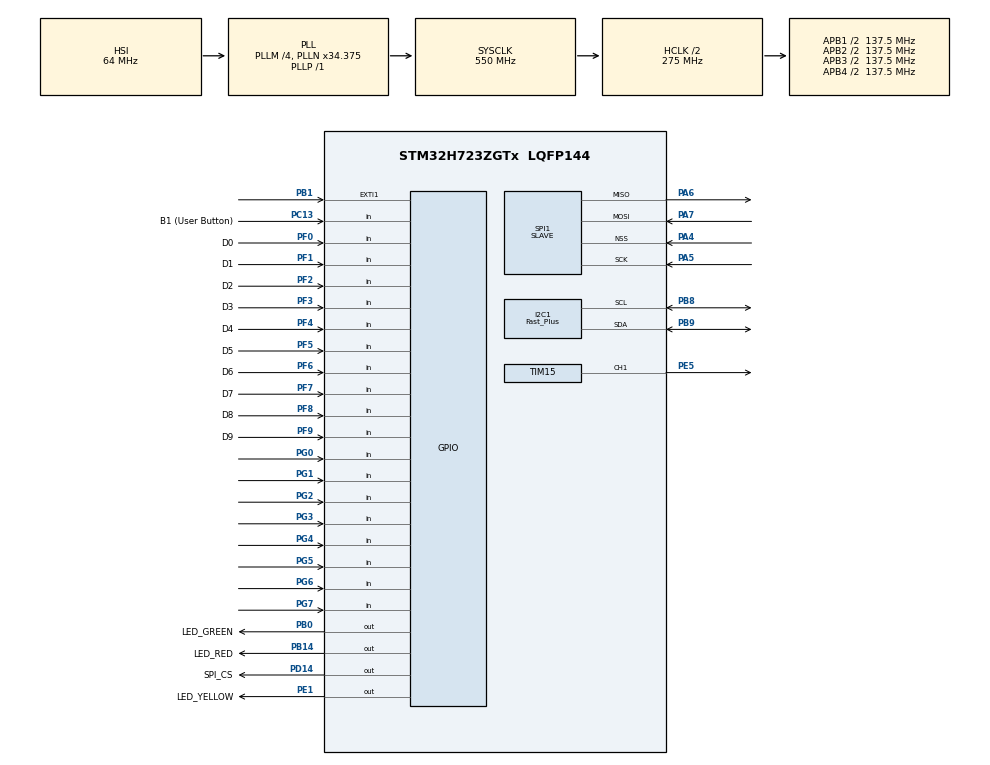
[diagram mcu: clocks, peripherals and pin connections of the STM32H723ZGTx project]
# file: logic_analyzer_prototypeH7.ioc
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CORTEX_M7.CPU_DCache=Disabled
CORTEX_M7.CPU_ICache=Disabled
CORTEX_M7.default_mode_Activation=1
Dma.Request0=TIM2_UP
Dma.Request1=SPI1_TX
Dma.Request2=TIM15_UP
Dma.SPI1_TX.1.Direction=DMA_MEMORY_TO_PERIPH
Dma.SPI1_TX.1.EventEnable=DISABLE
Dma.SPI1_TX.1.FIFOMode=DMA_FIFOMODE_DISABLE
Dma.SPI1_TX.1.Instance=DMA1_Stream2
Dma.SPI1_TX.1.MemDataAlignment=DMA_MDATAALIGN_HALFWORD
Dma.SPI1_TX.1.MemInc=DMA_MINC_ENABLE
Dma.SPI1_TX.1.Mode=DMA_NORMAL
Dma.SPI1_TX.1.PeriphDataAlignment=DMA_PDATAALIGN_HALFWORD
Dma.SPI1_TX.1.PeriphInc=DMA_PINC_DISABLE
Dma.SPI1_TX.1.Polarity=HAL_DMAMUX_REQ_GEN_RISING
Dma.SPI1_TX.1.Priority=DMA_PRIORITY_VERY_HIGH
Dma.SPI1_TX.1.RequestNumber=1
Dma.SPI1_TX.1.SignalID=NONE
Dma.SPI1_TX.1.SyncEnable=DISABLE
Dma.SPI1_TX.1.SyncPolarity=HAL_DMAMUX_SYNC_NO_EVENT
Dma.SPI1_TX.1.SyncRequestNumber=1
Dma.SPI1_TX.1.SyncSignalID=NONE
Dma.TIM15_UP.2.Direction=DMA_PERIPH_TO_MEMORY
Dma.TIM15_UP.2.EventEnable=DISABLE
Dma.TIM15_UP.2.FIFOMode=DMA_FIFOMODE_DISABLE
Dma.TIM15_UP.2.Instance=DMA1_Stream0
Dma.TIM15_UP.2.MemDataAlignment=DMA_MDATAALIGN_HALFWORD
Dma.TIM15_UP.2.MemInc=DMA_MINC_ENABLE
Dma.TIM15_UP.2.Mode=DMA_NORMAL
Dma.TIM15_UP.2.PeriphDataAlignment=DMA_PDATAALIGN_HALFWORD
Dma.TIM15_UP.2.PeriphInc=DMA_PINC_DISABLE
Dma.TIM15_UP.2.Polarity=HAL_DMAMUX_REQ_GEN_RISING
Dma.TIM15_UP.2.Priority=DMA_PRIORITY_VERY_HIGH
Dma.TIM15_UP.2.RequestNumber=1
Dma.TIM15_UP.2.SignalID=NONE
Dma.TIM15_UP.2.SyncEnable=DISABLE
Dma.TIM15_UP.2.SyncPolarity=HAL_DMAMUX_SYNC_NO_EVENT
Dma.TIM15_UP.2.SyncRequestNumber=1
Dma.TIM15_UP.2.SyncSignalID=NONE
Dma.TIM2_UP.0.Direction=DMA_PERIPH_TO_MEMORY
Dma.TIM2_UP.0.EventEnable=DISABLE
Dma.TIM2_UP.0.FIFOMode=DMA_FIFOMODE_DISABLE
Dma.TIM2_UP.0.Instance=DMA1_Stream1
Dma.TIM2_UP.0.MemDataAlignment=DMA_MDATAALIGN_BYTE
Dma.TIM2_UP.0.MemInc=DMA_MINC_ENABLE
Dma.TIM2_UP.0.Mode=DMA_NORMAL
Dma.TIM2_UP.0.PeriphDataAlignment=DMA_PDATAALIGN_BYTE
Dma.TIM2_UP.0.PeriphInc=DMA_PINC_DISABLE
Dma.TIM2_UP.0.Polarity=HAL_DMAMUX_REQ_GEN_RISING
Dma.TIM2_UP.0.Priority=DMA_PRIORITY_VERY_HIGH
Dma.TIM2_UP.0.RequestNumber=1
Dma.TIM2_UP.0.SignalID=NONE
Dma.TIM2_UP.0.SyncEnable=DISABLE
Dma.TIM2_UP.0.SyncPolarity=HAL_DMAMUX_SYNC_NO_EVENT
Dma.TIM2_UP.0.SyncRequestNumber=1
Dma.TIM2_UP.0.SyncSignalID=NONE
FREERTOS.Tasks01=defaultTask,24,128,StartDefaultTask,Default,NULL,Dynamic,NULL,NULL
FREERTOS.configTOTAL_HEAP_SIZE=16384
FREERTOS.configUSE_NEWLIB_REENTRANT=1
I2C1.I2C_Speed_Mode=I2C_Fast_Plus
I2C1.NoStretchMode=I2C_NOSTRETCH_DISABLE
I2C1.OwnAddress=0x54
I2C1.Timing=0x00601A5C
Mcu.Family=STM32H7
Mcu.Name=STM32H723ZGTx
Mcu.Package=LQFP144
NVIC.DMA1_Stream0_IRQn=true\:5\:0\:false\:false\:true\:true\:false\:true\:true
NVIC.DMA1_Stream1_IRQn=true\:6\:0\:true\:false\:true\:false\:false\:true\:true
NVIC.DMA1_Stream2_IRQn=true\:5\:0\:false\:false\:true\:false\:false\:true\:true
NVIC.I2C1_ER_IRQn=true\:15\:0\:true\:false\:true\:true\:true\:true\:true
NVIC.I2C1_EV_IRQn=true\:15\:0\:true\:false\:true\:true\:true\:true\:true
NVIC.PriorityGroup=NVIC_PRIORITYGROUP_4
NVIC.SPI1_IRQn=true\:5\:0\:false\:false\:true\:true\:false\:true\:true
NVIC.TIM3_IRQn=true\:5\:0\:false\:false\:true\:true\:true\:true\:true
NVIC.TIM6_DAC_IRQn=true\:15\:0\:false\:false\:true\:false\:false\:true\:true
NVIC.TimeBase=TIM6_DAC_IRQn
NVIC.TimeBaseIP=TIM6
PA13(JTMS/SWDIO).GPIO_Label=SWDIO
PA13(JTMS/SWDIO).Signal=DEBUG_JTMS-SWDIO
PA14(JTCK/SWCLK).GPIO_Label=SWCLK
PA14(JTCK/SWCLK).Signal=DEBUG_JTCK-SWCLK
PA4.GPIO_PuPd=GPIO_PULLUP
PA4.GPIO_Speed=GPIO_SPEED_FREQ_VERY_HIGH
PA4.Mode=NSS_Signal_Hard_Input
PA4.Signal=SPI1_NSS
PA5.GPIO_Speed=GPIO_SPEED_FREQ_VERY_HIGH
PA5.Mode=Full_Duplex_Slave
PA5.Signal=SPI1_SCK
PA6.GPIO_Speed=GPIO_SPEED_FREQ_VERY_HIGH
PA6.Mode=Full_Duplex_Slave
PA6.Signal=SPI1_MISO
PA7.Mode=Full_Duplex_Slave
PA7.Signal=SPI1_MOSI
PB0.GPIO_Label=LED_GREEN
PB0.Signal=GPIO_Output
PB1.Signal=GPXTI1
PB14.GPIO_Label=LED_RED
PB14.Signal=GPIO_Output
PB8.GPIO_Pu=GPIO_PULLUP
PB8.GPIO_Speed=GPIO_SPEED_FREQ_VERY_HIGH
PB8.Mode=I2C
PB8.Signal=I2C1_SCL
PB9.GPIO_Pu=GPIO_PULLUP
PB9.GPIO_Speed=GPIO_SPEED_FREQ_VERY_HIGH
PB9.Mode=I2C
PB9.Signal=I2C1_SDA
PC13.GPIO_Label=B1 (User Button)
PC13.Signal=GPIO_Input
PC14-OSC32_IN.Signal=RCC_OSC32_IN
PC15-OSC32_OUT.Signal=RCC_OSC32_OUT
PD14.GPIO_Label=SPI_CS
PD14.GPIO_PuPd=GPIO_PULLUP
PD14.GPIO_Speed=GPIO_SPEED_FREQ_VERY_HIGH
PD14.PinState=GPIO_PIN_SET
PD14.Signal=GPIO_Output
PD8.GPIO_Label=STLK_VCP_RX
PD8.Signal=USART3_TX
PD9.GPIO_Label=STLK_VCP_TX
PD9.Signal=USART3_RX
PE1.GPIO_Label=LED_YELLOW
PE1.Signal=GPIO_Output
PE5.GPIO_Speed=GPIO_SPEED_FREQ_LOW
PE5.Signal=S_TIM15_CH1
PF0.GPIO_Label=D0
PF0.GPIO_Mode=GPIO_MODE_INPUT
PF0.GPIO_PuPd=GPIO_PULLDOWN
PF0.Signal=GPIO_Input
PF1.GPIO_Label=D1
PF1.GPIO_Mode=GPIO_MODE_INPUT
PF1.GPIO_PuPd=GPIO_PULLDOWN
PF1.Signal=GPIO_Input
PF2.GPIO_Label=D2
PF2.GPIO_Mode=GPIO_MODE_INPUT
PF2.GPIO_PuPd=GPIO_PULLDOWN
PF2.Signal=GPIO_Input
PF3.GPIO_Label=D3
PF3.GPIO_Mode=GPIO_MODE_INPUT
PF3.GPIO_PuPd=GPIO_PULLDOWN
PF3.Signal=GPIO_Input
PF4.GPIO_Label=D4
PF4.GPIO_Mode=GPIO_MODE_INPUT
PF4.GPIO_PuPd=GPIO_PULLDOWN
PF4.Signal=GPIO_Input
PF5.GPIO_Label=D5
PF5.GPIO_Mode=GPIO_MODE_INPUT
PF5.GPIO_PuPd=GPIO_PULLDOWN
PF5.Signal=GPIO_Input
PF6.GPIO_Label=D6
PF6.GPIO_Mode=GPIO_MODE_INPUT
PF6.GPIO_PuPd=GPIO_PULLDOWN
PF6.Signal=GPIO_Input
PF7.GPIO_Label=D7
PF7.GPIO_Mode=GPIO_MODE_INPUT
PF7.GPIO_PuPd=GPIO_PULLDOWN
PF7.Signal=GPIO_Input
PF8.GPIO_Label=D8
PF8.GPIO_Mode=GPIO_MODE_INPUT
PF8.GPIO_PuPd=GPIO_PULLDOWN
PF8.Signal=GPIO_Input
PF9.GPIO_Label=D9
PF9.GPIO_Mode=GPIO_MODE_INPUT
PF9.GPIO_PuPd=GPIO_PULLDOWN
PF9.Signal=GPIO_Input
PG0.Signal=GPIO_Input
PG1.Signal=GPIO_Input
PG2.Signal=GPIO_Input
PG3.Signal=GPIO_Input
PG4.Signal=GPIO_Input
PG5.Signal=GPIO_Input
PG6.Signal=GPIO_Input
PG7.Signal=GPIO_Input
ProjectManager.HeapSize=0x200
ProjectManager.StackSize=0x400
ProjectManager.TargetToolchain=STM32CubeIDE
RCC.ADCFreq_Value=608000000
RCC.APB1Freq_Value=137500000
RCC.APB2Freq_Value=137500000
RCC.APB3Freq_Value=137500000
RCC.APB4Freq_Value=137500000
RCC.CortexFreq_Value=550000000
RCC.D1PPRE=RCC_APB3_DIV2
RCC.D2PPRE1=RCC_APB1_DIV2
RCC.D2PPRE2=RCC_APB2_DIV2
RCC.D3PPRE=RCC_APB4_DIV2
RCC.DIVM1=4
RCC.DIVM2=1
RCC.DIVN1=34
RCC.DIVN2=19
RCC.DIVP1=1
RCC.DIVQ1=3
RCC.HCLKFreq_Value=275000000
RCC.HPRE=RCC_HCLK_DIV2
RCC.HSE_VALUE=8000000
RCC.PLLFRACN=3072
RCC.SYSCLKFreq_VALUE=550000000
RCC.SYSCLKSource=RCC_SYSCLKSOURCE_PLLCLK
RCC.USBCLockSelection=RCC_USBCLKSOURCE_HSI48
RCC.USBFreq_Value=48000000
SH.S_TIM15_CH1.0=TIM15_CH1,PWM Generation1 CH1
SPI1.CLKPhase=SPI_PHASE_2EDGE
SPI1.DataSize=SPI_DATASIZE_16BIT
SPI1.Direction=SPI_DIRECTION_2LINES
SPI1.Mode=SPI_MODE_SLAVE
SPI1.VirtualNSS=VM_NSSHARD
SPI1.VirtualType=VM_SLAVE
TIM15.Channel-PWM\ Generation1\ CH1=TIM_CHANNEL_1
TIM15.OCFastMode_PWM-PWM\ Generation1\ CH1=TIM_OCFAST_ENABLE
TIM15.OCPolarity_1=TIM_OCPOLARITY_HIGH
TIM15.Period=23
TIM15.TIM_MasterOutputTrigger=TIM_TRGO_UPDATE
TIM2.Period=23
TIM2.TIM_MasterOutputTrigger=TIM_TRGO_UPDATE
TIM3.Period=27499
TIM3.Prescaler=4999
VP_FREERTOS_VS_CMSIS_V2.Mode=CMSIS_V2
VP_MEMORYMAP_VS_MEMORYMAP.Mode=CurAppReg
VP_SYS_VS_tim6.Mode=TIM6
VP_TIM15_VS_ClockSourceINT.Mode=Internal
VP_TIM2_VS_ClockSourceINT.Mode=Internal
VP_TIM3_VS_ClockSourceINT.Mode=Internal
board=NUCLEO-H723ZG

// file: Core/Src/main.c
/* USER CODE BEGIN Header */
/**
  ******************************************************************************
  * @file           : main.c
  * @brief          : Main program body
  ******************************************************************************
  * @attention
  *
  * Copyright (c) 2025 STMicroelectronics.
  * All rights reserved.
  *
  * This software is licensed under terms that can be found in the LICENSE file
  * in the root directory of this software component.
  * If no LICENSE file comes with this software, it is provided AS-IS.
  *
  ******************************************************************************
  */
/* USER CODE END Header */
#include "main.h"
#include "cmsis_os.h"

/* USER CODE BEGIN Includes */
#include "logic_analyzer_commands.h"
#include "oscilloscope_commands.h"
#include "la_os_shared.h"
#include "snap_module.h"
#include <stdio.h>
#include <string.h>
#include <stdbool.h>
/* USER CODE END Includes */

/* USER CODE BEGIN PTD */
extern void CommandProcessingTask(void* argument);
/* USER CODE END PTD */

I2C_HandleTypeDef hi2c1;

SPI_HandleTypeDef hspi1;
DMA_HandleTypeDef hdma_spi1_tx;

TIM_HandleTypeDef htim2;
TIM_HandleTypeDef htim3;
TIM_HandleTypeDef htim15;
DMA_HandleTypeDef hdma_tim2_up;
DMA_HandleTypeDef hdma_tim15_up;

/* Definitions for defaultTask */
osThreadId_t defaultTaskHandle;
const osThreadAttr_t defaultTask_attributes = {
  .name = "defaultTask",
  .stack_size = 128 * 4,
  .priority = (osPriority_t) osPriorityNormal,
};
/* USER CODE BEGIN PV */
// RTOS Task Handles for Logic Analyzer

osThreadId_t commandProcessingTaskHandle;
const osThreadAttr_t commandProcessingTask_attributes = {
		.name = "commandProcessing",
		.stack_size = 512 * 4,
		.priority = (osPriority_t) osPriorityHigh
};

osThreadId_t continuousTaskHandle;
const osThreadAttr_t ContinuousTask_attributes = {
		.name = "continuous",
		.stack_size = 512 * 4,
		.priority = (osPriority_t) osPriorityRealtime
};

uint8_t sample_buffer[SAMPLE_BUFFER_SIZE];

/* USER CODE END PV */

void SystemClock_Config(void);
static void MPU_Config(void);
static void MX_GPIO_Init(void);
static void MX_DMA_Init(void);
static void MX_TIM2_Init(void);
static void MX_I2C1_Init(void);
static void MX_SPI1_Init(void);
static void MX_TIM3_Init(void);
static void MX_TIM15_Init(void);
void StartDefaultTask(void *argument);

/* USER CODE BEGIN PFP */
extern void i2c_fsm_watchdog_callback();
/* USER CODE END PFP */

/* USER CODE BEGIN 0 */

void processCommand(struct CommandMessage *cmd, struct CommandResponse *resp) {
    switch(cmd->code) {
      case COMMAND_LA_START_CONTINUOUS:
  commandLAStartContinuous(cmd, resp);
  break;

      case COMMAND_LA_STOP_CONTINUOUS:
	commandLAStopContinuous(cmd, resp);
	break;

      case COMMAND_LA_GET_CHUNK:
	commandLAGetChunk(cmd, resp);
	break;

      case COMMAND_LA_CONFIG:
	commandLAConfig(cmd, resp);
	break;

      case COMMAND_OS_START_CONTINUOUS:
   	commandOSStartContinuous(cmd, resp);
   	break;

         case COMMAND_OS_STOP_CONTINUOUS:
        	 commandOSStopContinuous(cmd, resp);
   	break;

         case COMMAND_OS_GET_CHUNK:
   	commandOSGetChunk(cmd, resp);
   	break;

         case COMMAND_OS_CONFIG:
   	commandOSConfig(cmd, resp);
   	break;

      default:
	return;
    }
}
/* USER CODE END 0 */

int main(void)
{

  /* MPU Configuration--------------------------------------------------------*/
  MPU_Config();

  /* MCU Configuration--------------------------------------------------------*/

  /* Reset of all peripherals, Initializes the Flash interface and the Systick. */
  HAL_Init();

  /* Configure the system clock */
  SystemClock_Config();

  /* Initialize all configured peripherals */
  MX_GPIO_Init();
  MX_DMA_Init();
  MX_TIM2_Init();
  MX_I2C1_Init();
  MX_SPI1_Init();
  MX_TIM3_Init();
  MX_TIM15_Init();

  /* Init scheduler */
  osKernelInitialize();

  /* Create the thread(s) */
  /* creation of defaultTask */
  defaultTaskHandle = osThreadNew(StartDefaultTask, NULL, &defaultTask_attributes);

  /* USER CODE BEGIN RTOS_THREADS */
  /* add threads, ... */
  continuousTaskHandle = osThreadNew(ContinuousSamplingTask, NULL, &ContinuousTask_attributes);
  commandProcessingTaskHandle = osThreadNew(CommandProcessingTask, NULL, &commandProcessingTask_attributes);
  /* USER CODE END RTOS_THREADS */

  /* Start scheduler */
  osKernelStart();

  /* We should never get here as control is now taken by the scheduler */

  /* Infinite loop */
  while (1)
  {

  }
}

void SystemClock_Config(void)
{
  RCC_OscInitTypeDef RCC_OscInitStruct = {0};
  RCC_ClkInitTypeDef RCC_ClkInitStruct = {0};

  /** Supply configuration update enable
  */
  HAL_PWREx_ConfigSupply(PWR_LDO_SUPPLY);

  /** Configure the main internal regulator output voltage
  */
  __HAL_PWR_VOLTAGESCALING_CONFIG(PWR_REGULATOR_VOLTAGE_SCALE0);

  while(!__HAL_PWR_GET_FLAG(PWR_FLAG_VOSRDY)) {}

  /** Initializes the RCC Oscillators according to the specified parameters
  * in the RCC_OscInitTypeDef structure.
  */
  RCC_OscInitStruct.OscillatorType = RCC_OSCILLATORTYPE_HSI;
  RCC_OscInitStruct.HSIState = RCC_HSI_DIV1;
  RCC_OscInitStruct.HSICalibrationValue = 64;
  RCC_OscInitStruct.PLL.PLLState = RCC_PLL_ON;
  RCC_OscInitStruct.PLL.PLLSource = RCC_PLLSOURCE_HSI;
  RCC_OscInitStruct.PLL.PLLM = 4;
  RCC_OscInitStruct.PLL.PLLN = 34;
  RCC_OscInitStruct.PLL.PLLP = 1;
  RCC_OscInitStruct.PLL.PLLQ = 3;
  RCC_OscInitStruct.PLL.PLLR = 2;
  RCC_OscInitStruct.PLL.PLLRGE = RCC_PLL1VCIRANGE_3;
  RCC_OscInitStruct.PLL.PLLVCOSEL = RCC_PLL1VCOWIDE;
  RCC_OscInitStruct.PLL.PLLFRACN = 3072;
  if (HAL_RCC_OscConfig(&RCC_OscInitStruct) != HAL_OK)
  {
    Error_Handler();
  }

  /** Initializes the CPU, AHB and APB buses clocks
  */
  RCC_ClkInitStruct.ClockType = RCC_CLOCKTYPE_HCLK|RCC_CLOCKTYPE_SYSCLK
                              |RCC_CLOCKTYPE_PCLK1|RCC_CLOCKTYPE_PCLK2
                              |RCC_CLOCKTYPE_D3PCLK1|RCC_CLOCKTYPE_D1PCLK1;
  RCC_ClkInitStruct.SYSCLKSource = RCC_SYSCLKSOURCE_PLLCLK;
  RCC_ClkInitStruct.SYSCLKDivider = RCC_SYSCLK_DIV1;
  RCC_ClkInitStruct.AHBCLKDivider = RCC_HCLK_DIV2;
  RCC_ClkInitStruct.APB3CLKDivider = RCC_APB3_DIV2;
  RCC_ClkInitStruct.APB1CLKDivider = RCC_APB1_DIV2;
  RCC_ClkInitStruct.APB2CLKDivider = RCC_APB2_DIV2;
  RCC_ClkInitStruct.APB4CLKDivider = RCC_APB4_DIV2;

  if (HAL_RCC_ClockConfig(&RCC_ClkInitStruct, FLASH_LATENCY_3) != HAL_OK)
  {
    Error_Handler();
  }
}

static void MX_I2C1_Init(void)
{

  hi2c1.Instance = I2C1;
  hi2c1.Init.Timing = 0x00601A5C;
  hi2c1.Init.OwnAddress1 = 168;
  hi2c1.Init.AddressingMode = I2C_ADDRESSINGMODE_7BIT;
  hi2c1.Init.DualAddressMode = I2C_DUALADDRESS_DISABLE;
  hi2c1.Init.OwnAddress2 = 0;
  hi2c1.Init.OwnAddress2Masks = I2C_OA2_NOMASK;
  hi2c1.Init.GeneralCallMode = I2C_GENERALCALL_DISABLE;
  hi2c1.Init.NoStretchMode = I2C_NOSTRETCH_DISABLE;
  if (HAL_I2C_Init(&hi2c1) != HAL_OK)
  {
    Error_Handler();
  }

  /** Configure Analogue filter
  */
  if (HAL_I2CEx_ConfigAnalogFilter(&hi2c1, I2C_ANALOGFILTER_ENABLE) != HAL_OK)
  {
    Error_Handler();
  }

  /** Configure Digital filter
  */
  if (HAL_I2CEx_ConfigDigitalFilter(&hi2c1, 0) != HAL_OK)
  {
    Error_Handler();
  }

  /** I2C Enable Fast Mode Plus
  */
  HAL_I2CEx_EnableFastModePlus(I2C_FASTMODEPLUS_I2C1);

}

static void MX_SPI1_Init(void)
{

  /* SPI1 parameter configuration*/
  hspi1.Instance = SPI1;
  hspi1.Init.Mode = SPI_MODE_SLAVE;
  hspi1.Init.Direction = SPI_DIRECTION_2LINES;
  hspi1.Init.DataSize = SPI_DATASIZE_16BIT;
  hspi1.Init.CLKPolarity = SPI_POLARITY_LOW;
  hspi1.Init.CLKPhase = SPI_PHASE_2EDGE;
  hspi1.Init.NSS = SPI_NSS_HARD_INPUT;
  hspi1.Init.FirstBit = SPI_FIRSTBIT_MSB;
  hspi1.Init.TIMode = SPI_TIMODE_DISABLE;
  hspi1.Init.CRCCalculation = SPI_CRCCALCULATION_DISABLE;
  hspi1.Init.CRCPolynomial = 0x0;
  hspi1.Init.NSSPMode = SPI_NSS_PULSE_DISABLE;
  hspi1.Init.NSSPolarity = SPI_NSS_POLARITY_LOW;
  hspi1.Init.FifoThreshold = SPI_FIFO_THRESHOLD_01DATA;
  hspi1.Init.TxCRCInitializationPattern = SPI_CRC_INITIALIZATION_ALL_ZERO_PATTERN;
  hspi1.Init.RxCRCInitializationPattern = SPI_CRC_INITIALIZATION_ALL_ZERO_PATTERN;
  hspi1.Init.MasterSSIdleness = SPI_MASTER_SS_IDLENESS_00CYCLE;
  hspi1.Init.MasterInterDataIdleness = SPI_MASTER_INTERDATA_IDLENESS_00CYCLE;
  hspi1.Init.MasterReceiverAutoSusp = SPI_MASTER_RX_AUTOSUSP_DISABLE;
  hspi1.Init.MasterKeepIOState = SPI_MASTER_KEEP_IO_STATE_DISABLE;
  hspi1.Init.IOSwap = SPI_IO_SWAP_DISABLE;
  if (HAL_SPI_Init(&hspi1) != HAL_OK)
  {
    Error_Handler();
  }

}

static void MX_TIM2_Init(void)
{

  TIM_ClockConfigTypeDef sClockSourceConfig = {0};
  TIM_MasterConfigTypeDef sMasterConfig = {0};

  htim2.Instance = TIM2;
  htim2.Init.Prescaler = 0;
  htim2.Init.CounterMode = TIM_COUNTERMODE_UP;
  htim2.Init.Period = 23;
  htim2.Init.ClockDivision = TIM_CLOCKDIVISION_DIV1;
  htim2.Init.AutoReloadPreload = TIM_AUTORELOAD_PRELOAD_DISABLE;
  if (HAL_TIM_Base_Init(&htim2) != HAL_OK)
  {
    Error_Handler();
  }
  sClockSourceConfig.ClockSource = TIM_CLOCKSOURCE_INTERNAL;
  if (HAL_TIM_ConfigClockSource(&htim2, &sClockSourceConfig) != HAL_OK)
  {
    Error_Handler();
  }
  sMasterConfig.MasterOutputTrigger = TIM_TRGO_UPDATE;
  sMasterConfig.MasterSlaveMode = TIM_MASTERSLAVEMODE_DISABLE;
  if (HAL_TIMEx_MasterConfigSynchronization(&htim2, &sMasterConfig) != HAL_OK)
  {
    Error_Handler();
  }

}

static void MX_TIM3_Init(void)
{

  TIM_ClockConfigTypeDef sClockSourceConfig = {0};
  TIM_MasterConfigTypeDef sMasterConfig = {0};

  /* USER CODE BEGIN TIM3_Init 1 */
  /* Enable TIM3 clock */
  __HAL_RCC_TIM3_CLK_ENABLE();

  /* Enable and set TIM3 Interrupt priority */
  HAL_NVIC_SetPriority(TIM3_IRQn, 5, 0);
  HAL_NVIC_EnableIRQ(TIM3_IRQn);
  /* USER CODE END TIM3_Init 1 */
  htim3.Instance = TIM3;
  htim3.Init.Prescaler = 4999;
  htim3.Init.CounterMode = TIM_COUNTERMODE_UP;
  htim3.Init.Period = 27499;
  htim3.Init.ClockDivision = TIM_CLOCKDIVISION_DIV1;
  htim3.Init.AutoReloadPreload = TIM_AUTORELOAD_PRELOAD_DISABLE;
  if (HAL_TIM_Base_Init(&htim3) != HAL_OK)
  {
    Error_Handler();
  }
  sClockSourceConfig.ClockSource = TIM_CLOCKSOURCE_INTERNAL;
  if (HAL_TIM_ConfigClockSource(&htim3, &sClockSourceConfig) != HAL_OK)
  {
    Error_Handler();
  }
  sMasterConfig.MasterOutputTrigger = TIM_TRGO_RESET;
  sMasterConfig.MasterSlaveMode = TIM_MASTERSLAVEMODE_DISABLE;
  if (HAL_TIMEx_MasterConfigSynchronization(&htim3, &sMasterConfig) != HAL_OK)
  {
    Error_Handler();
  }

}

static void MX_TIM15_Init(void)
{

  TIM_ClockConfigTypeDef sClockSourceConfig = {0};
  TIM_MasterConfigTypeDef sMasterConfig = {0};
  TIM_OC_InitTypeDef sConfigOC = {0};
  TIM_BreakDeadTimeConfigTypeDef sBreakDeadTimeConfig = {0};

  htim15.Instance = TIM15;
  htim15.Init.Prescaler = 0;
  htim15.Init.CounterMode = TIM_COUNTERMODE_UP;
  htim15.Init.Period = 23;
  htim15.Init.ClockDivision = TIM_CLOCKDIVISION_DIV1;
  htim15.Init.RepetitionCounter = 0;
  htim15.Init.AutoReloadPreload = TIM_AUTORELOAD_PRELOAD_DISABLE;
  if (HAL_TIM_Base_Init(&htim15) != HAL_OK)
  {
    Error_Handler();
  }
  sClockSourceConfig.ClockSource = TIM_CLOCKSOURCE_INTERNAL;
  if (HAL_TIM_ConfigClockSource(&htim15, &sClockSourceConfig) != HAL_OK)
  {
    Error_Handler();
  }
  if (HAL_TIM_PWM_Init(&htim15) != HAL_OK)
  {
    Error_Handler();
  }
  sMasterConfig.MasterOutputTrigger = TIM_TRGO_UPDATE;
  sMasterConfig.MasterSlaveMode = TIM_MASTERSLAVEMODE_DISABLE;
  if (HAL_TIMEx_MasterConfigSynchronization(&htim15, &sMasterConfig) != HAL_OK)
  {
    Error_Handler();
  }
  sConfigOC.OCMode = TIM_OCMODE_PWM1;
  sConfigOC.Pulse = 0;
  sConfigOC.OCPolarity = TIM_OCPOLARITY_HIGH;
  sConfigOC.OCNPolarity = TIM_OCNPOLARITY_HIGH;
  sConfigOC.OCFastMode = TIM_OCFAST_ENABLE;
  sConfigOC.OCIdleState = TIM_OCIDLESTATE_RESET;
  sConfigOC.OCNIdleState = TIM_OCNIDLESTATE_RESET;
  if (HAL_TIM_PWM_ConfigChannel(&htim15, &sConfigOC, TIM_CHANNEL_1) != HAL_OK)
  {
    Error_Handler();
  }
  sBreakDeadTimeConfig.OffStateRunMode = TIM_OSSR_DISABLE;
  sBreakDeadTimeConfig.OffStateIDLEMode = TIM_OSSI_DISABLE;
  sBreakDeadTimeConfig.LockLevel = TIM_LOCKLEVEL_OFF;
  sBreakDeadTimeConfig.DeadTime = 0;
  sBreakDeadTimeConfig.BreakState = TIM_BREAK_DISABLE;
  sBreakDeadTimeConfig.BreakPolarity = TIM_BREAKPOLARITY_HIGH;
  sBreakDeadTimeConfig.BreakFilter = 0;
  sBreakDeadTimeConfig.AutomaticOutput = TIM_AUTOMATICOUTPUT_DISABLE;
  if (HAL_TIMEx_ConfigBreakDeadTime(&htim15, &sBreakDeadTimeConfig) != HAL_OK)
  {
    Error_Handler();
  }
  HAL_TIM_MspPostInit(&htim15);

}

static void MX_DMA_Init(void)
{

  /* DMA controller clock enable */
  __HAL_RCC_DMA1_CLK_ENABLE();

  /* DMA interrupt init */
  /* DMA1_Stream0_IRQn interrupt configuration */
  HAL_NVIC_SetPriority(DMA1_Stream0_IRQn, 5, 0);
  HAL_NVIC_EnableIRQ(DMA1_Stream0_IRQn);
  /* DMA1_Stream1_IRQn interrupt configuration */
  HAL_NVIC_SetPriority(DMA1_Stream1_IRQn, 6, 0);
  HAL_NVIC_EnableIRQ(DMA1_Stream1_IRQn);
  /* DMA1_Stream2_IRQn interrupt configuration */
  HAL_NVIC_SetPriority(DMA1_Stream2_IRQn, 5, 0);
  HAL_NVIC_EnableIRQ(DMA1_Stream2_IRQn);

}

static void MX_GPIO_Init(void)
{
  GPIO_InitTypeDef GPIO_InitStruct = {0};

  /* GPIO Ports Clock Enable */
  __HAL_RCC_GPIOE_CLK_ENABLE();
  __HAL_RCC_GPIOC_CLK_ENABLE();
  __HAL_RCC_GPIOF_CLK_ENABLE();
  __HAL_RCC_GPIOA_CLK_ENABLE();
  __HAL_RCC_GPIOB_CLK_ENABLE();
  __HAL_RCC_GPIOG_CLK_ENABLE();
  __HAL_RCC_GPIOD_CLK_ENABLE();

  /*Configure GPIO pin Output Level */
  HAL_GPIO_WritePin(GPIOB, LED_GREEN_Pin|LED_RED_Pin, GPIO_PIN_RESET);

  /*Configure GPIO pin Output Level */
  HAL_GPIO_WritePin(SPI_CS_GPIO_Port, SPI_CS_Pin, GPIO_PIN_SET);

  /*Configure GPIO pin Output Level */
  HAL_GPIO_WritePin(LED_YELLOW_GPIO_Port, LED_YELLOW_Pin, GPIO_PIN_RESET);

  /*Configure GPIO pin : B1_Pin */
  GPIO_InitStruct.Pin = B1_Pin;
  GPIO_InitStruct.Mode = GPIO_MODE_INPUT;
  GPIO_InitStruct.Pull = GPIO_NOPULL;
  HAL_GPIO_Init(B1_GPIO_Port, &GPIO_InitStruct);

  /*Configure GPIO pins : D0_Pin D1_Pin D2_Pin D3_Pin
                           D4_Pin D5_Pin D6_Pin D7_Pin
                           D8_Pin D9_Pin */
  GPIO_InitStruct.Pin = D0_Pin|D1_Pin|D2_Pin|D3_Pin
                          |D4_Pin|D5_Pin|D6_Pin|D7_Pin
                          |D8_Pin|D9_Pin;
  GPIO_InitStruct.Mode = GPIO_MODE_INPUT;
  GPIO_InitStruct.Pull = GPIO_PULLDOWN;
  HAL_GPIO_Init(GPIOF, &GPIO_InitStruct);

  /*Configure GPIO pins : LED_GREEN_Pin LED_RED_Pin */
  GPIO_InitStruct.Pin = LED_GREEN_Pin|LED_RED_Pin;
  GPIO_InitStruct.Mode = GPIO_MODE_OUTPUT_PP;
  GPIO_InitStruct.Pull = GPIO_NOPULL;
  GPIO_InitStruct.Speed = GPIO_SPEED_FREQ_LOW;
  HAL_GPIO_Init(GPIOB, &GPIO_InitStruct);

  /*Configure GPIO pin : PB1 */
  GPIO_InitStruct.Pin = GPIO_PIN_1;
  GPIO_InitStruct.Mode = GPIO_MODE_IT_RISING;
  GPIO_InitStruct.Pull = GPIO_NOPULL;
  HAL_GPIO_Init(GPIOB, &GPIO_InitStruct);

  /*Configure GPIO pins : PG0 PG1 PG2 PG3
                           PG4 PG5 PG6 PG7 */
  GPIO_InitStruct.Pin = GPIO_PIN_0|GPIO_PIN_1|GPIO_PIN_2|GPIO_PIN_3
                          |GPIO_PIN_4|GPIO_PIN_5|GPIO_PIN_6|GPIO_PIN_7;
  GPIO_InitStruct.Mode = GPIO_MODE_INPUT;
  GPIO_InitStruct.Pull = GPIO_NOPULL;
  HAL_GPIO_Init(GPIOG, &GPIO_InitStruct);

  /*Configure GPIO pins : STLK_VCP_RX_Pin STLK_VCP_TX_Pin */
  GPIO_InitStruct.Pin = STLK_VCP_RX_Pin|STLK_VCP_TX_Pin;
  GPIO_InitStruct.Mode = GPIO_MODE_AF_PP;
  GPIO_InitStruct.Pull = GPIO_NOPULL;
  GPIO_InitStruct.Speed = GPIO_SPEED_FREQ_LOW;
  GPIO_InitStruct.Alternate = GPIO_AF7_USART3;
  HAL_GPIO_Init(GPIOD, &GPIO_InitStruct);

  /*Configure GPIO pin : SPI_CS_Pin */
  GPIO_InitStruct.Pin = SPI_CS_Pin;
  GPIO_InitStruct.Mode = GPIO_MODE_OUTPUT_PP;
  GPIO_InitStruct.Pull = GPIO_PULLUP;
  GPIO_InitStruct.Speed = GPIO_SPEED_FREQ_VERY_HIGH;
  HAL_GPIO_Init(SPI_CS_GPIO_Port, &GPIO_InitStruct);

  /*Configure GPIO pin : LED_YELLOW_Pin */
  GPIO_InitStruct.Pin = LED_YELLOW_Pin;
  GPIO_InitStruct.Mode = GPIO_MODE_OUTPUT_PP;
  GPIO_InitStruct.Pull = GPIO_NOPULL;
  GPIO_InitStruct.Speed = GPIO_SPEED_FREQ_LOW;
  HAL_GPIO_Init(LED_YELLOW_GPIO_Port, &GPIO_InitStruct);

}

void StartDefaultTask(void *argument)
{
  /* USER CODE BEGIN 5 */
  osDelay(1000);
  /* Infinite loop */
  for(;;)
  {
	osDelay(100);
  }
  /* USER CODE END 5 */
}

 /* MPU Configuration */

void MPU_Config(void)
{
  MPU_Region_InitTypeDef MPU_InitStruct = {0};

  /* Disables the MPU */
  HAL_MPU_Disable();

  /** Initializes and configures the Region and the memory to be protected
  */
  MPU_InitStruct.Enable = MPU_REGION_ENABLE;
  MPU_InitStruct.Number = MPU_REGION_NUMBER0;
  MPU_InitStruct.BaseAddress = 0x0;
  MPU_InitStruct.Size = MPU_REGION_SIZE_4GB;
  MPU_InitStruct.SubRegionDisable = 0x87;
  MPU_InitStruct.TypeExtField = MPU_TEX_LEVEL0;
  MPU_InitStruct.AccessPermission = MPU_REGION_NO_ACCESS;
  MPU_InitStruct.DisableExec = MPU_INSTRUCTION_ACCESS_DISABLE;
  MPU_InitStruct.IsShareable = MPU_ACCESS_SHAREABLE;
  MPU_InitStruct.IsCacheable = MPU_ACCESS_NOT_CACHEABLE;
  MPU_InitStruct.IsBufferable = MPU_ACCESS_NOT_BUFFERABLE;

  HAL_MPU_ConfigRegion(&MPU_InitStruct);
  /* Enables the MPU */
  HAL_MPU_Enable(MPU_PRIVILEGED_DEFAULT);

}

void HAL_TIM_PeriodElapsedCallback(TIM_HandleTypeDef *htim)
{
  if (htim->Instance == TIM6)
  {
    HAL_IncTick();
  }
  /* USER CODE BEGIN Callback 1 */
  if (htim->Instance == TIM3){
	  i2c_fsm_watchdog_callback();
  }
  /* USER CODE END Callback 1 */
}

void Error_Handler(void)
{
  __disable_irq();
  while (1)
  {
  }
}
